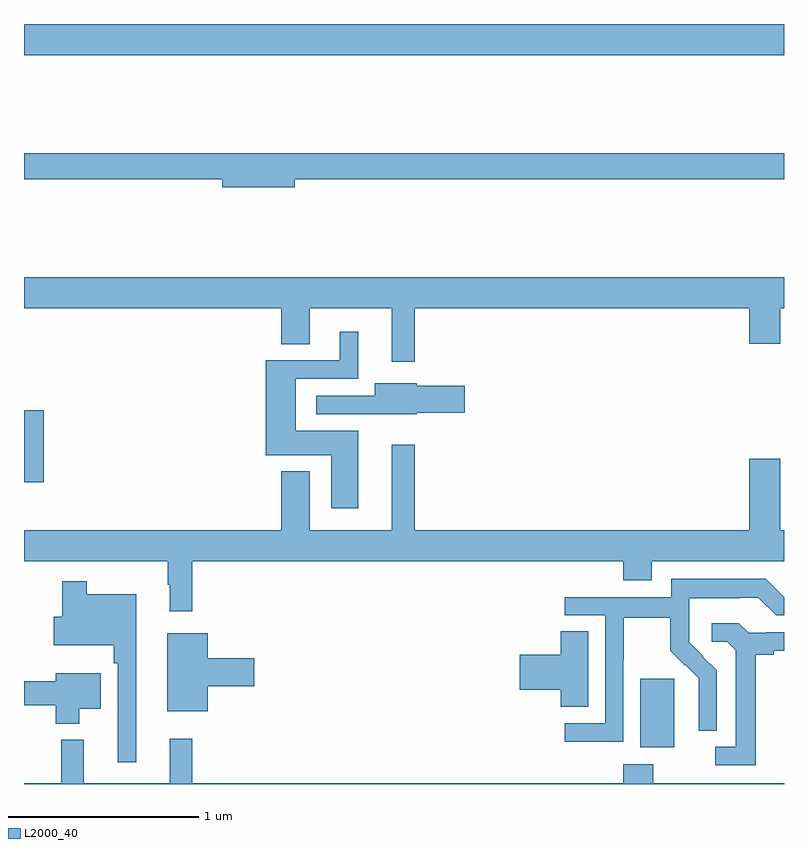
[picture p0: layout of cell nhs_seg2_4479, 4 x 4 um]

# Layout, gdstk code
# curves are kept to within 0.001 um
import gdstk
lib = gdstk.Library(unit=1e-6, precision=1e-09)
def R(c, l, rs):  # rectangles x0, y0, x1, y1
    for r in rs: c.add(gdstk.rectangle(r[:2], r[2:], *l))
def P(c, l, *ps):  # polygons
    for p in ps: c.add(gdstk.Polygon(p, *l))
L2000_40 = (2000, 40)

nhs_seg2_4479 = lib.new_cell('nhs_seg2_4479')
R(nhs_seg2_4479, L2000_40, [(356.243,643.994,356.422,644.355), (353,645.387,353.105,645.768), (353,647.636,357,647.8)])
P(nhs_seg2_4479, L2000_40, [(354.424,646.984),(357,646.984),(357,647.12),(353,647.12),(353,646.984),(354.044,646.984),(354.044,646.942),(354.424,646.942)],
  [(355.057,646.304),(356.816,646.304),(356.816,646.116),(356.98,646.116),(356.98,646.304),(357,646.304),(357,646.468),(353,646.468),(353,646.304),(354.353,646.304),(354.353,646.114),(354.505,646.114),(354.505,646.304),(354.935,646.304),(354.935,646.023),(355.057,646.023)],
  [(354.76,645.658),(354.43,645.658),(354.43,645.933),(354.76,645.933),(354.76,646.18),(354.662,646.18),(354.662,646.029),(354.272,646.029),(354.272,645.53),(354.617,645.53),(354.617,645.251),(354.76,645.251)],
  [(355.068,645.755),(355.321,645.755),(355.321,645.897),(355.068,645.897),(355.068,645.91),(354.845,645.91),(354.845,645.843),(354.537,645.843),(354.537,645.747),(354.849,645.747),(354.849,645.746),(355.068,645.746)],
  [(353.885,644.972),(356.153,644.972),(356.153,644.873),(356.305,644.873),(356.305,644.972),(357,644.972),(357,645.136),(356.98,645.136),(356.98,645.511),(356.816,645.511),(356.816,645.136),(355.057,645.136),(355.057,645.586),(354.935,645.586),(354.935,645.136),(354.505,645.136),(354.505,645.445),(354.353,645.445),(354.353,645.136),(353,645.136),(353,644.972),(353.757,644.972),(353.757,644.849),(353.768,644.849),(353.768,644.709),(353.885,644.709)],
  [(356.154,644.452),(356.157,644.452),(356.157,644.676),(356.401,644.676),(356.401,644.501),(356.478,644.424),(356.481,644.427),(356.552,644.357),(356.552,644.234),(356.55,644.234),(356.55,644.08),(356.646,644.08),(356.646,644.398),(356.5,644.546),(356.5,644.643),(356.502,644.643),(356.502,644.777),(356.765,644.777),(356.765,644.781),(356.865,644.781),(356.958,644.688),(357,644.688),(357,644.784),(356.903,644.881),(356.406,644.881),(356.406,644.784),(355.845,644.784),(355.845,644.688),(356.058,644.688),(356.058,644.121),(355.845,644.121),(355.845,644.023),(356.154,644.023)],
  [(353.59,644.8),(353.329,644.8),(353.329,644.866),(353.2,644.866),(353.2,644.679),(353.156,644.679),(353.156,644.531),(353.473,644.531),(353.473,644.435),(353.493,644.435),(353.493,643.914),(353.59,643.914)],
  [(356.851,644.48),(356.947,644.48),(356.947,644.502),(357,644.502),(357,644.598),(356.908,644.598),(356.908,644.595),(356.814,644.595),(356.762,644.647),(356.619,644.647),(356.619,644.55),(356.7,644.55),(356.747,644.503),(356.747,643.995),(356.637,643.995),(356.637,643.899),(356.851,643.899)],
  [(355.969,644.603),(355.826,644.603),(355.826,644.48),(355.608,644.48),(355.608,644.297),(355.826,644.297),(355.826,644.206),(355.969,644.206)],
  [(353.968,644.315),(354.211,644.315),(354.211,644.462),(353.968,644.462),(353.968,644.593),(353.753,644.593),(353.753,644.183),(353.968,644.183)],
  [(353.29,644.195),(353.404,644.195),(353.404,644.383),(353.168,644.383),(353.168,644.342),(353,644.342),(353,644.214),(353.168,644.214),(353.168,644.117),(353.29,644.117)],
  [(357,643.804),(356.313,643.804),(356.313,643.903),(356.153,643.903),(356.153,643.804),(353.885,643.804),(353.885,644.038),(353.768,644.038),(353.768,643.804),(353.315,643.804),(353.315,644.032),(353.197,644.032),(353.197,643.804),(353,643.804),(353,643.8),(357,643.8)])

lib.write_gds('nhs_seg2_4479.gds')
